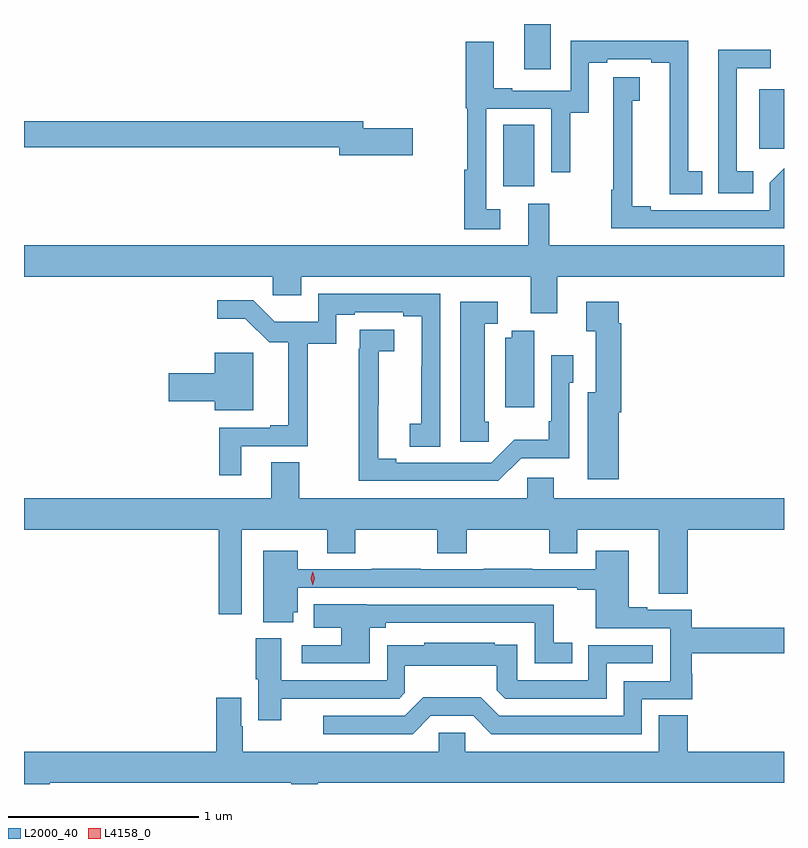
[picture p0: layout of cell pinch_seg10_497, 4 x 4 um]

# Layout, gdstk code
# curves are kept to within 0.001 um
import gdstk
lib = gdstk.Library(unit=1e-6, precision=1e-09)
def R(c, l, rs):  # rectangles x0, y0, x1, y1
    for r in rs: c.add(gdstk.rectangle(r[:2], r[2:], *l))
def P(c, l, *ps):  # polygons
    for p in ps: c.add(gdstk.Polygon(p, *l))
L2000_40 = (2000, 40)
L4158_0 = (4158, 0)

pinch_seg10_497 = lib.new_cell('pinch_seg10_497')
R(pinch_seg10_497, L2000_40, [(197.51,1270.155,197.674,1270.478), (198.857,1270.352,198.988,1270.666), (197.621,1270.77,197.761,1271.009)])
P(pinch_seg10_497, L2000_40, [(197.494,1270.035),(197.421,1270.035),(197.421,1270.563),(197.763,1270.563),(197.763,1270.23),(197.862,1270.23),(197.862,1270.543),(197.961,1270.543),(197.961,1270.804),(198.058,1270.804),(198.058,1270.824),(198.29,1270.824),(198.29,1270.804),(198.386,1270.804),(198.386,1270.114),(198.557,1270.114),(198.557,1270.233),(198.484,1270.233),(198.484,1270.92),(197.865,1270.92),(197.865,1270.659),(197.557,1270.659),(197.557,1270.672),(197.461,1270.672),(197.461,1270.915),(197.312,1270.915),(197.312,1270.566),(197.32,1270.566),(197.32,1270.242),(197.305,1270.242),(197.305,1269.93),(197.494,1269.93)],
  [(198.827,1270.235),(198.738,1270.235),(198.738,1270.776),(198.919,1270.776),(198.919,1270.873),(198.641,1270.873),(198.641,1270.322),(198.642,1270.322),(198.642,1270.119),(198.827,1270.119)],
  [(198.988,1270.249),(198.912,1270.173),(198.912,1270.029),(198.286,1270.029),(198.286,1270.049),(198.19,1270.049),(198.19,1270.604),(198.229,1270.604),(198.229,1270.729),(198.089,1270.729),(198.089,1270.136),(198.079,1270.136),(198.079,1269.933),(198.988,1269.933)],
  [(197.035,1270.46),(196.774,1270.46),(196.774,1270.496),(194.988,1270.496),(194.988,1270.36),(196.646,1270.36),(196.646,1270.318),(197.035,1270.318)],
  [(197.794,1269.68),(198.988,1269.68),(198.988,1269.844),(197.752,1269.844),(197.752,1270.063),(197.642,1270.063),(197.642,1269.844),(194.988,1269.844),(194.988,1269.68),(196.296,1269.68),(196.296,1269.582),(196.447,1269.582),(196.447,1269.68),(197.654,1269.68),(197.654,1269.486),(197.794,1269.486)],
  [(196.132,1268.787),(196.481,1268.787),(196.481,1269.325),(196.632,1269.325),(196.632,1269.478),(196.729,1269.478),(196.729,1269.492),(196.985,1269.492),(196.985,1269.472),(197.081,1269.472),(197.08,1268.905),(197.019,1268.905),(197.019,1268.785),(197.178,1268.785),(197.178,1269.588),(196.536,1269.588),(196.536,1269.442),(196.307,1269.442),(196.194,1269.555),(196.005,1269.555),(196.005,1269.458),(196.153,1269.458),(196.279,1269.333),(196.379,1269.333),(196.379,1268.896),(196.283,1268.896),(196.283,1268.883),(196.015,1268.883),(196.015,1268.634),(196.132,1268.634)],
  [(197.435,1268.916),(197.413,1268.916),(197.413,1269.432),(197.482,1269.432),(197.482,1269.547),(197.285,1269.547),(197.285,1268.811),(197.435,1268.811)],
  [(198.118,1268.966),(198.131,1268.966),(198.131,1269.434),(198.118,1269.434),(198.118,1269.547),(197.946,1269.547),(197.946,1269.391),(197.996,1269.391),(197.996,1269.07),(197.954,1269.07),(197.954,1268.613),(198.118,1268.613)],
  [(197.604,1268.724),(197.859,1268.724),(197.859,1269.12),(197.88,1269.12),(197.88,1269.265),(197.763,1269.265),(197.763,1268.917),(197.751,1268.917),(197.751,1268.821),(197.569,1268.821),(197.448,1268.7),(196.948,1268.7),(196.948,1268.72),(196.852,1268.72),(196.854,1269.286),(196.936,1269.286),(196.936,1269.401),(196.756,1269.401),(196.756,1269.299),(196.75,1269.299),(196.75,1268.604),(197.484,1268.604)],
  [(197.674,1269.395),(197.554,1269.395),(197.554,1269.358),(197.522,1269.358),(197.522,1268.991),(197.674,1268.991)],
  [(196.195,1269.28),(195.992,1269.28),(195.992,1269.17),(195.75,1269.17),(195.75,1269.023),(195.992,1269.023),(195.992,1268.975),(196.195,1268.975)],
  [(196.135,1268.348),(196.583,1268.348),(196.583,1268.224),(196.731,1268.224),(196.731,1268.348),(197.164,1268.348),(197.164,1268.224),(197.319,1268.224),(197.319,1268.348),(197.752,1268.348),(197.752,1268.224),(197.899,1268.224),(197.899,1268.348),(198.329,1268.348),(198.329,1268.011),(198.482,1268.011),(198.482,1268.348),(198.988,1268.348),(198.988,1268.512),(197.776,1268.512),(197.776,1268.622),(197.637,1268.622),(197.637,1268.512),(196.437,1268.512),(196.437,1268.702),(196.289,1268.702),(196.289,1268.512),(194.988,1268.512),(194.988,1268.348),(196.014,1268.348),(196.014,1267.902),(196.135,1267.902)],
  [(197.13,1267.368),(197.352,1267.368),(197.448,1267.272),(198.24,1267.272),(198.24,1267.455),(198.506,1267.455),(198.506,1267.589),(198.502,1267.589),(198.502,1267.696),(198.988,1267.696),(198.988,1267.832),(198.502,1267.832),(198.502,1267.926),(198.268,1267.926),(198.268,1267.939),(198.172,1267.939),(198.172,1268.236),(197.996,1268.236),(197.996,1268.139),(197.663,1268.139),(197.663,1268.141),(197.407,1268.141),(197.407,1268.139),(197.075,1268.139),(197.075,1268.141),(196.819,1268.141),(196.819,1268.139),(196.429,1268.139),(196.429,1268.236),(196.247,1268.236),(196.247,1267.861),(196.405,1267.861),(196.405,1267.914),(196.429,1267.914),(196.429,1268.043),(197.9,1268.043),(197.9,1268.031),(197.996,1268.031),(197.996,1267.83),(198.39,1267.83),(198.39,1267.551),(198.144,1267.551),(198.144,1267.368),(197.49,1267.368),(197.393,1267.465),(197.089,1267.465),(196.992,1267.368),(196.563,1267.368),(196.563,1267.272),(197.034,1267.272)],
  [(196.807,1267.832),(196.893,1267.832),(196.893,1267.857),(197.676,1267.857),(197.676,1267.644),(197.873,1267.644),(197.873,1267.753),(197.775,1267.753),(197.775,1267.953),(196.793,1267.953),(196.793,1267.954),(196.514,1267.954),(196.514,1267.832),(196.657,1267.832),(196.657,1267.74),(196.449,1267.74),(196.449,1267.644),(196.807,1267.644)],
  [(196.342,1267.458),(196.962,1267.458),(196.992,1267.488),(196.992,1267.631),(197.475,1267.631),(197.475,1267.503),(197.52,1267.458),(198.054,1267.458),(198.054,1267.644),(198.298,1267.644),(198.298,1267.74),(197.958,1267.74),(197.958,1267.554),(197.583,1267.554),(197.583,1267.741),(197.466,1267.741),(197.466,1267.753),(197.094,1267.753),(197.094,1267.74),(196.899,1267.74),(196.899,1267.554),(196.342,1267.554),(196.342,1267.776),(196.208,1267.776),(196.208,1267.561),(196.22,1267.561),(196.22,1267.344),(196.342,1267.344)],
  [(196.395,1267.009),(196.533,1267.009),(196.533,1267.016),(198.988,1267.016),(198.988,1267.18),(198.482,1267.18),(198.482,1267.37),(198.329,1267.37),(198.329,1267.18),(197.31,1267.18),(197.31,1267.278),(197.172,1267.278),(197.172,1267.18),(196.14,1267.18),(196.14,1267.313),(196.132,1267.313),(196.132,1267.462),(196.001,1267.462),(196.001,1267.18),(194.988,1267.18),(194.988,1267.009),(195.123,1267.009),(195.123,1267.016),(196.395,1267.016)])
P(pinch_seg10_497, L4158_0, [(196.507,1268.056),(196.507,1268.056),(196.497,1268.091),(196.507,1268.126),(196.507,1268.126),(196.508,1268.126),(196.517,1268.091),(196.508,1268.056)])

lib.write_gds('pinch_seg10_497.gds')
